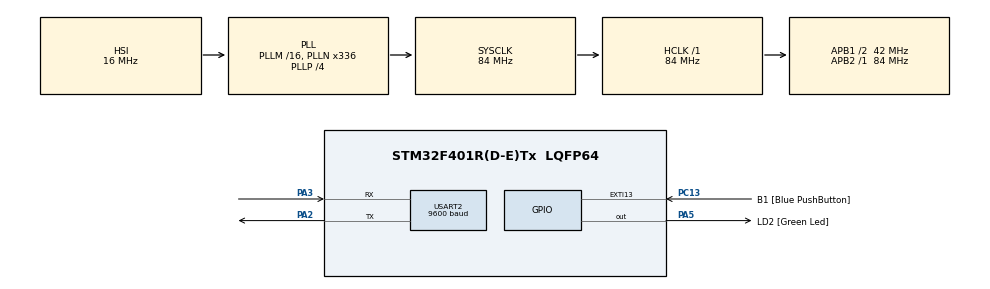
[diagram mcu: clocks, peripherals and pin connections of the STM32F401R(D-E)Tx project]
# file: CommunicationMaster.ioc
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Mcu.Family=STM32F4
Mcu.Name=STM32F401R(D-E)Tx
Mcu.Package=LQFP64
NVIC.PriorityGroup=NVIC_PRIORITYGROUP_0
PA13.GPIO_Label=TMS
PA13.Mode=Serial_Wire
PA13.Signal=SYS_JTMS-SWDIO
PA14.GPIO_Label=TCK
PA14.Mode=Serial_Wire
PA14.Signal=SYS_JTCK-SWCLK
PA2.Mode=Asynchronous
PA2.Signal=USART2_TX
PA3.Mode=Asynchronous
PA3.Signal=USART2_RX
PA5.GPIO_Label=LD2 [Green Led]
PA5.GPIO_Mode=GPIO_MODE_OUTPUT_PP
PA5.GPIO_PuPd=GPIO_NOPULL
PA5.GPIO_Speed=GPIO_SPEED_FREQ_LOW
PA5.Signal=GPIO_Output
PB3.GPIO_Label=SWO
PB3.Signal=SYS_JTDO-SWO
PB4.Signal=SPI3_MISO
PB7.Signal=I2C1_SDA
PC13-ANTI_TAMP.GPIO_Label=B1 [Blue PushButton]
PC13-ANTI_TAMP.GPIO_ModeDefaultEXTI=GPIO_MODE_IT_FALLING
PC13-ANTI_TAMP.GPIO_PuPd=GPIO_NOPULL
PC13-ANTI_TAMP.Signal=GPXTI13
PC14-OSC32_IN.Mode=LSE-External-Oscillator
PC14-OSC32_IN.Signal=RCC_OSC32_IN
PC15-OSC32_OUT.Mode=LSE-External-Oscillator
PC15-OSC32_OUT.Signal=RCC_OSC32_OUT
PH0\ -\ OSC_IN.Mode=HSE-External-Clock-Source
PH0\ -\ OSC_IN.Signal=RCC_OSC_IN
PH1\ -\ OSC_OUT.Mode=HSE-External-Clock-Source
PH1\ -\ OSC_OUT.Signal=RCC_OSC_OUT
ProjectManager.HeapSize=0x200
ProjectManager.StackSize=0x400
ProjectManager.TargetToolchain=STM32CubeIDE
RCC.48MHZClocksFreq_Value=48000000
RCC.AHBFreq_Value=84000000
RCC.APB1CLKDivider=RCC_HCLK_DIV2
RCC.APB1Freq_Value=42000000
RCC.APB1TimFreq_Value=84000000
RCC.APB2Freq_Value=84000000
RCC.APB2TimFreq_Value=84000000
RCC.CortexFreq_Value=84000000
RCC.HCLKFreq_Value=84000000
RCC.HSE_VALUE=8000000
RCC.HSI_VALUE=16000000
RCC.PLLN=336
RCC.PLLP=RCC_PLLP_DIV4
RCC.PLLQ=7
RCC.SYSCLKFreq_VALUE=84000000
RCC.SYSCLKSource=RCC_SYSCLKSOURCE_PLLCLK
RCC.VCOOutputFreq_Value=336000000
USART2.BaudRate=9600
USART2.VirtualMode=VM_ASYNC
board=NUCLEO-F401RE

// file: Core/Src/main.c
/* USER CODE BEGIN Header */
/**
  ******************************************************************************
  * @file           : main.c
  * @brief          : Main program body
  ******************************************************************************
  * @attention
  *
  * Copyright (c) 2024 STMicroelectronics.
  * All rights reserved.
  *
  * This software is licensed under terms that can be found in the LICENSE file
  * in the root directory of this software component.
  * If no LICENSE file comes with this software, it is provided AS-IS.
  *
  ******************************************************************************
  */
/* USER CODE END Header */
#include "main.h"

UART_HandleTypeDef huart2;

void SystemClock_Config(void);
static void MX_GPIO_Init(void);
static void MX_USART2_UART_Init(void);

int main(void)
{

  /* MCU Configuration--------------------------------------------------------*/

  /* Reset of all peripherals, Initializes the Flash interface and the Systick. */
  HAL_Init();

  /* USER CODE BEGIN Init */

  uint8_t txData[2]; // Data to transmit
  uint8_t rxData[4]; // Store received data
  int motor1Direction,motor2Direction;
  char inputChar;

  /* USER CODE END Init */

  /* Configure the system clock */
  SystemClock_Config();

  /* Initialize all configured peripherals */
  MX_GPIO_Init();
  MX_USART2_UART_Init();

  /* Infinite loop */
  while (1)
  {

    /* USER CODE BEGIN 3 */

    if (HAL_UART_Receive(&huart2, (uint8_t *)&inputChar, 1, 1000) == HAL_OK)
        {
          // Set motor directions based on input
          switch(inputChar) {
            case 'w':  // Forward
              motor1Direction = 1;
              motor2Direction = 1;
              //break;
            case 's':  // Backward
              motor1Direction = -1;
              motor2Direction = -1;
              //break;
            case 'a':  // Left
              motor1Direction = -1;
              motor2Direction = 1;
              //break;
            case 'd':  // Right
              motor1Direction = 1;
              motor2Direction = -1;
              //break;
            default:
              motor1Direction = 0;  // Stop
              motor2Direction = 0;  // Stop
              //break;
          }
        }

    // Combine directions into txData (you can use more sophisticated control here)
    txData[0] = motor1Direction;  // Send motor 1 direction
    txData[1] = motor2Direction;  // Send motor 2 direction

    if (HAL_SPI_TransmitReceive(&spi3, txData, rxData, sizeof(txData), 1000) == HAL_OK)
        {
          // Print received data via UART
          HAL_UART_Transmit(&huart2, rxData, sizeof(rxData), 1000);
          //HAL_UART_Transmit(&huart2, (uint8_t*)"\r\n", 2, 1000); // Line break
        }
    else
        {
            // Handle SPI communication error
            //HAL_UART_Transmit(&huart2, (uint8_t*)"SPI Error!\r\n", 12, 1000);
        }

    HAL_Delay(1000);  // Wait before next communication
  }
  /* USER CODE END 3 */
}

void SystemClock_Config(void)
{
  RCC_OscInitTypeDef RCC_OscInitStruct = {0};
  RCC_ClkInitTypeDef RCC_ClkInitStruct = {0};

  /** Configure the main internal regulator output voltage
  */
  __HAL_RCC_PWR_CLK_ENABLE();
  __HAL_PWR_VOLTAGESCALING_CONFIG(PWR_REGULATOR_VOLTAGE_SCALE2);

  /** Initializes the RCC Oscillators according to the specified parameters
  * in the RCC_OscInitTypeDef structure.
  */
  RCC_OscInitStruct.OscillatorType = RCC_OSCILLATORTYPE_HSI;
  RCC_OscInitStruct.HSIState = RCC_HSI_ON;
  RCC_OscInitStruct.HSICalibrationValue = RCC_HSICALIBRATION_DEFAULT;
  RCC_OscInitStruct.PLL.PLLState = RCC_PLL_ON;
  RCC_OscInitStruct.PLL.PLLSource = RCC_PLLSOURCE_HSI;
  RCC_OscInitStruct.PLL.PLLM = 16;
  RCC_OscInitStruct.PLL.PLLN = 336;
  RCC_OscInitStruct.PLL.PLLP = RCC_PLLP_DIV4;
  RCC_OscInitStruct.PLL.PLLQ = 7;
  if (HAL_RCC_OscConfig(&RCC_OscInitStruct) != HAL_OK)
  {
    Error_Handler();
  }

  /** Initializes the CPU, AHB and APB buses clocks
  */
  RCC_ClkInitStruct.ClockType = RCC_CLOCKTYPE_HCLK|RCC_CLOCKTYPE_SYSCLK
                              |RCC_CLOCKTYPE_PCLK1|RCC_CLOCKTYPE_PCLK2;
  RCC_ClkInitStruct.SYSCLKSource = RCC_SYSCLKSOURCE_PLLCLK;
  RCC_ClkInitStruct.AHBCLKDivider = RCC_SYSCLK_DIV1;
  RCC_ClkInitStruct.APB1CLKDivider = RCC_HCLK_DIV2;
  RCC_ClkInitStruct.APB2CLKDivider = RCC_HCLK_DIV1;

  if (HAL_RCC_ClockConfig(&RCC_ClkInitStruct, FLASH_LATENCY_2) != HAL_OK)
  {
    Error_Handler();
  }
}

static void MX_USART2_UART_Init(void)
{

  huart2.Instance = USART2;
  huart2.Init.BaudRate = 9600;
  huart2.Init.WordLength = UART_WORDLENGTH_8B;
  huart2.Init.StopBits = UART_STOPBITS_1;
  huart2.Init.Parity = UART_PARITY_NONE;
  huart2.Init.Mode = UART_MODE_TX_RX;
  huart2.Init.HwFlowCtl = UART_HWCONTROL_NONE;
  huart2.Init.OverSampling = UART_OVERSAMPLING_16;
  if (HAL_UART_Init(&huart2) != HAL_OK)
  {
    Error_Handler();
  }

}

static void MX_GPIO_Init(void)
{
  GPIO_InitTypeDef GPIO_InitStruct = {0};

  /* GPIO Ports Clock Enable */
  __HAL_RCC_GPIOC_CLK_ENABLE();
  __HAL_RCC_GPIOH_CLK_ENABLE();
  __HAL_RCC_GPIOA_CLK_ENABLE();
  __HAL_RCC_GPIOB_CLK_ENABLE();

  /*Configure GPIO pin Output Level */
  HAL_GPIO_WritePin(LD2_GPIO_Port, LD2_Pin, GPIO_PIN_RESET);

  /*Configure GPIO pin : B1_Pin */
  GPIO_InitStruct.Pin = B1_Pin;
  GPIO_InitStruct.Mode = GPIO_MODE_IT_FALLING;
  GPIO_InitStruct.Pull = GPIO_NOPULL;
  HAL_GPIO_Init(B1_GPIO_Port, &GPIO_InitStruct);

  /*Configure GPIO pin : LD2_Pin */
  GPIO_InitStruct.Pin = LD2_Pin;
  GPIO_InitStruct.Mode = GPIO_MODE_OUTPUT_PP;
  GPIO_InitStruct.Pull = GPIO_NOPULL;
  GPIO_InitStruct.Speed = GPIO_SPEED_FREQ_LOW;
  HAL_GPIO_Init(LD2_GPIO_Port, &GPIO_InitStruct);

  /*Configure GPIO pin : PB4 */
  GPIO_InitStruct.Pin = GPIO_PIN_4;
  GPIO_InitStruct.Mode = GPIO_MODE_AF_PP;
  GPIO_InitStruct.Pull = GPIO_NOPULL;
  GPIO_InitStruct.Speed = GPIO_SPEED_FREQ_VERY_HIGH;
  GPIO_InitStruct.Alternate = GPIO_AF6_SPI3;
  HAL_GPIO_Init(GPIOB, &GPIO_InitStruct);

  /*Configure GPIO pin : PB7 */
  GPIO_InitStruct.Pin = GPIO_PIN_7;
  GPIO_InitStruct.Mode = GPIO_MODE_AF_OD;
  GPIO_InitStruct.Pull = GPIO_NOPULL;
  GPIO_InitStruct.Speed = GPIO_SPEED_FREQ_VERY_HIGH;
  GPIO_InitStruct.Alternate = GPIO_AF4_I2C1;
  HAL_GPIO_Init(GPIOB, &GPIO_InitStruct);

}

void Error_Handler(void)
{
  __disable_irq();
  while (1)
  {
  }
}
